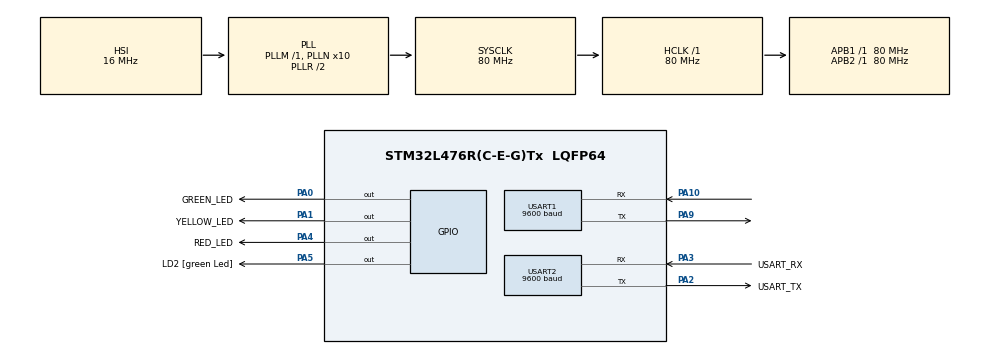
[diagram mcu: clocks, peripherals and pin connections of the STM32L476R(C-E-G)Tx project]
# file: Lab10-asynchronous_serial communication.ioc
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Mcu.Family=STM32L4
Mcu.Name=STM32L476R(C-E-G)Tx
Mcu.Package=LQFP64
NVIC.PriorityGroup=NVIC_PRIORITYGROUP_4
NVIC.USART1_IRQn=true\:0\:0\:false\:false\:true\:true\:true\:true
NVIC.USART2_IRQn=true\:0\:0\:false\:false\:true\:true\:true\:true
PA0.GPIO_Label=GREEN_LED
PA0.Signal=GPIO_Output
PA1.GPIO_Label=YELLOW_LED
PA1.Signal=GPIO_Output
PA10.Mode=Asynchronous
PA10.Signal=USART1_RX
PA13\ (JTMS-SWDIO).GPIO_Label=TMS
PA13\ (JTMS-SWDIO).Mode=Serial_Wire
PA13\ (JTMS-SWDIO).Signal=SYS_JTMS-SWDIO
PA14\ (JTCK-SWCLK).GPIO_Label=TCK
PA14\ (JTCK-SWCLK).Mode=Serial_Wire
PA14\ (JTCK-SWCLK).Signal=SYS_JTCK-SWCLK
PA2.GPIO_Label=USART_TX
PA2.GPIO_Mode=GPIO_MODE_AF_PP
PA2.GPIO_PuPd=GPIO_NOPULL
PA2.GPIO_Speed=GPIO_SPEED_FREQ_VERY_HIGH
PA2.Mode=Asynchronous
PA2.Signal=USART2_TX
PA3.GPIO_Label=USART_RX
PA3.GPIO_Mode=GPIO_MODE_AF_PP
PA3.GPIO_PuPd=GPIO_NOPULL
PA3.GPIO_Speed=GPIO_SPEED_FREQ_VERY_HIGH
PA3.Mode=Asynchronous
PA3.Signal=USART2_RX
PA4.GPIO_Label=RED_LED
PA4.Signal=GPIO_Output
PA5.GPIO_Label=LD2 [green Led]
PA5.GPIO_ModeDefaultOutputPP=GPIO_MODE_OUTPUT_PP
PA5.GPIO_PuPd=GPIO_NOPULL
PA5.GPIO_Speed=GPIO_SPEED_FREQ_LOW
PA5.Signal=GPIO_Output
PA9.Mode=Asynchronous
PA9.Signal=USART1_TX
PB3\ (JTDO-TRACESWO).GPIO_Label=SWO
PB3\ (JTDO-TRACESWO).Signal=SYS_JTDO-SWO
PC14-OSC32_IN\ (PC14).Mode=LSE-External-Oscillator
PC14-OSC32_IN\ (PC14).Signal=RCC_OSC32_IN
PC15-OSC32_OUT\ (PC15).Mode=LSE-External-Oscillator
PC15-OSC32_OUT\ (PC15).Signal=RCC_OSC32_OUT
PH0-OSC_IN\ (PH0).Signal=RCC_OSC_IN
PH1-OSC_OUT\ (PH1).Signal=RCC_OSC_OUT
ProjectManager.HeapSize=0x200
ProjectManager.StackSize=0x400
ProjectManager.TargetToolchain=STM32CubeIDE
RCC.ADCFreq_Value=64000000
RCC.AHBFreq_Value=80000000
RCC.APB1Freq_Value=80000000
RCC.APB1TimFreq_Value=80000000
RCC.APB2Freq_Value=80000000
RCC.APB2TimFreq_Value=80000000
RCC.CortexFreq_Value=80000000
RCC.HCLKFreq_Value=80000000
RCC.HSE_VALUE=8000000
RCC.HSI_VALUE=16000000
RCC.MSI_VALUE=4000000
RCC.PLLN=10
RCC.PLLSourceVirtual=RCC_PLLSOURCE_HSI
RCC.PREFETCH_ENABLE=1
RCC.SYSCLKFreq_VALUE=80000000
RCC.SYSCLKSource=RCC_SYSCLKSOURCE_PLLCLK
RCC.USBFreq_Value=64000000
RCC.VCOOutputFreq_Value=160000000
USART1.BaudRate=9600
USART1.VirtualMode-Asynchronous=VM_ASYNC
USART2.BaudRate=9600
USART2.VirtualMode-Asynchronous=VM_ASYNC
board=NUCLEO-L476RG

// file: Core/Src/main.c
/* USER CODE BEGIN Header */
/**
  ******************************************************************************
  * @file           : main.c
  * @brief          : Main program body
  ******************************************************************************
  * @attention
  *
  * Copyright (c) 2025 STMicroelectronics.
  * All rights reserved.
  *
  * This software is licensed under terms that can be found in the LICENSE file
  * in the root directory of this software component.
  * If no LICENSE file comes with this software, it is provided AS-IS.
  *
  ******************************************************************************
  */
/* USER CODE END Header */
#include "main.h"

/* USER CODE BEGIN Includes */
#include "string.h" // library for C strings
#include <stdbool.h> // library for bool data type
/* USER CODE END Includes */

/* USER CODE BEGIN PM */
#define UART_DELAY 100 // wait max of 100 ms between frames in message
#define MAX_MESSAGE_SIZE 100 // 100 characters maximum message size
/* USER CODE END PM */

UART_HandleTypeDef huart1;
UART_HandleTypeDef huart2;

/* USER CODE BEGIN PV */
uint8_t message[MAX_MESSAGE_SIZE] = {0}; // char array to store message received
uint8_t response[MAX_MESSAGE_SIZE] = {0}; // char array to store response message
uint8_t uart1_byte; // byte received from UART1
uint8_t uart2_byte; // byte received from UART2
uint8_t buffer_position = 0; // how many bytes received so far
bool blink = false; // LED blink status
bool party_time = false; // stoplight blink status
/* USER CODE END PV */

void SystemClock_Config(void);
static void MX_GPIO_Init(void);
static void MX_USART2_UART_Init(void);
static void MX_USART1_UART_Init(void);

int main(void)
{

  /* MCU Configuration--------------------------------------------------------*/

  /* Reset of all peripherals, Initializes the Flash interface and the Systick. */
  HAL_Init();

  /* Configure the system clock */
  SystemClock_Config();

  /* Initialize all configured peripherals */
  MX_GPIO_Init();
  MX_USART2_UART_Init();
  MX_USART1_UART_Init();
  /* USER CODE BEGIN 2 */
  // Start UART1 and UART2 to receive interrupts
  HAL_UART_Receive_IT(&huart1, &uart1_byte, 1); // put byte from UART1 in "uart1_byte"
  HAL_UART_Receive_IT(&huart2, &uart2_byte, 1); // put byte from UART2 in "uart2_byte"
  /* USER CODE END 2 */

  /* Infinite loop */
  /* USER CODE BEGIN WHILE */
  while (1)
  {
	  if (party_time) {
		  HAL_GPIO_TogglePin(GREEN_LED_GPIO_Port, GREEN_LED_Pin); // Toggle green led
		  HAL_Delay(100); // wait 100 ms
		  HAL_GPIO_TogglePin(YELLOW_LED_GPIO_Port, YELLOW_LED_Pin); // Toggle yellow led
		  HAL_Delay(100); // wait 100 ms
		  HAL_GPIO_TogglePin(RED_LED_GPIO_Port, RED_LED_Pin); // Toggle red led
		  HAL_Delay(100); // wait 100 ms
	  }
    /* USER CODE END WHILE */

  }
}

void SystemClock_Config(void)
{
  RCC_OscInitTypeDef RCC_OscInitStruct = {0};
  RCC_ClkInitTypeDef RCC_ClkInitStruct = {0};

  /** Configure the main internal regulator output voltage
  */
  if (HAL_PWREx_ControlVoltageScaling(PWR_REGULATOR_VOLTAGE_SCALE1) != HAL_OK)
  {
    Error_Handler();
  }

  /** Initializes the RCC Oscillators according to the specified parameters
  * in the RCC_OscInitTypeDef structure.
  */
  RCC_OscInitStruct.OscillatorType = RCC_OSCILLATORTYPE_HSI;
  RCC_OscInitStruct.HSIState = RCC_HSI_ON;
  RCC_OscInitStruct.HSICalibrationValue = RCC_HSICALIBRATION_DEFAULT;
  RCC_OscInitStruct.PLL.PLLState = RCC_PLL_ON;
  RCC_OscInitStruct.PLL.PLLSource = RCC_PLLSOURCE_HSI;
  RCC_OscInitStruct.PLL.PLLM = 1;
  RCC_OscInitStruct.PLL.PLLN = 10;
  RCC_OscInitStruct.PLL.PLLP = RCC_PLLP_DIV7;
  RCC_OscInitStruct.PLL.PLLQ = RCC_PLLQ_DIV2;
  RCC_OscInitStruct.PLL.PLLR = RCC_PLLR_DIV2;
  if (HAL_RCC_OscConfig(&RCC_OscInitStruct) != HAL_OK)
  {
    Error_Handler();
  }

  /** Initializes the CPU, AHB and APB buses clocks
  */
  RCC_ClkInitStruct.ClockType = RCC_CLOCKTYPE_HCLK|RCC_CLOCKTYPE_SYSCLK
                              |RCC_CLOCKTYPE_PCLK1|RCC_CLOCKTYPE_PCLK2;
  RCC_ClkInitStruct.SYSCLKSource = RCC_SYSCLKSOURCE_PLLCLK;
  RCC_ClkInitStruct.AHBCLKDivider = RCC_SYSCLK_DIV1;
  RCC_ClkInitStruct.APB1CLKDivider = RCC_HCLK_DIV1;
  RCC_ClkInitStruct.APB2CLKDivider = RCC_HCLK_DIV1;

  if (HAL_RCC_ClockConfig(&RCC_ClkInitStruct, FLASH_LATENCY_4) != HAL_OK)
  {
    Error_Handler();
  }
}

static void MX_USART1_UART_Init(void)
{

  huart1.Instance = USART1;
  huart1.Init.BaudRate = 9600;
  huart1.Init.WordLength = UART_WORDLENGTH_8B;
  huart1.Init.StopBits = UART_STOPBITS_1;
  huart1.Init.Parity = UART_PARITY_NONE;
  huart1.Init.Mode = UART_MODE_TX_RX;
  huart1.Init.HwFlowCtl = UART_HWCONTROL_NONE;
  huart1.Init.OverSampling = UART_OVERSAMPLING_16;
  huart1.Init.OneBitSampling = UART_ONE_BIT_SAMPLE_DISABLE;
  huart1.AdvancedInit.AdvFeatureInit = UART_ADVFEATURE_NO_INIT;
  if (HAL_UART_Init(&huart1) != HAL_OK)
  {
    Error_Handler();
  }

}

static void MX_USART2_UART_Init(void)
{

  huart2.Instance = USART2;
  huart2.Init.BaudRate = 9600;
  huart2.Init.WordLength = UART_WORDLENGTH_8B;
  huart2.Init.StopBits = UART_STOPBITS_1;
  huart2.Init.Parity = UART_PARITY_NONE;
  huart2.Init.Mode = UART_MODE_TX_RX;
  huart2.Init.HwFlowCtl = UART_HWCONTROL_NONE;
  huart2.Init.OverSampling = UART_OVERSAMPLING_16;
  huart2.Init.OneBitSampling = UART_ONE_BIT_SAMPLE_DISABLE;
  huart2.AdvancedInit.AdvFeatureInit = UART_ADVFEATURE_NO_INIT;
  if (HAL_UART_Init(&huart2) != HAL_OK)
  {
    Error_Handler();
  }

}

static void MX_GPIO_Init(void)
{
  GPIO_InitTypeDef GPIO_InitStruct = {0};

  /* GPIO Ports Clock Enable */
  __HAL_RCC_GPIOC_CLK_ENABLE();
  __HAL_RCC_GPIOH_CLK_ENABLE();
  __HAL_RCC_GPIOA_CLK_ENABLE();
  __HAL_RCC_GPIOB_CLK_ENABLE();

  /*Configure GPIO pin Output Level */
  HAL_GPIO_WritePin(GPIOA, GREEN_LED_Pin|YELLOW_LED_Pin|RED_LED_Pin|LD2_Pin, GPIO_PIN_RESET);

  /*Configure GPIO pins : GREEN_LED_Pin YELLOW_LED_Pin RED_LED_Pin LD2_Pin */
  GPIO_InitStruct.Pin = GREEN_LED_Pin|YELLOW_LED_Pin|RED_LED_Pin|LD2_Pin;
  GPIO_InitStruct.Mode = GPIO_MODE_OUTPUT_PP;
  GPIO_InitStruct.Pull = GPIO_NOPULL;
  GPIO_InitStruct.Speed = GPIO_SPEED_FREQ_LOW;
  HAL_GPIO_Init(GPIOA, &GPIO_InitStruct);

}

/* USER CODE BEGIN 4 */
///////////////////////////////////////////////////////////////////////////////////////
// Function called when I receive a new message
// UART2 is between my latop and my board
// UART1 is between my lab partners board and my board
///////////////////////////////////////////////////////////////////////////////////////
void HAL_UART_RxCpltCallback(UART_HandleTypeDef *huart){

 // Check if byte received was on UART2 (from laptop)
 if (huart == &huart2){
	 // If we get here, we received a byte from UART2 and it was placed in "uart2_byte"
	 // Take byte received from my laptop over UART2 and send to lab partner over UART1
	 HAL_UART_Transmit(&huart1, &uart2_byte, 1, UART_DELAY);
	 // Restart UART2's receive interrupt to wait for next byte from laptop
	 HAL_UART_Receive_IT(&huart2, &uart2_byte, 1); //start next byte receive interrupt
 }

	 // Check if byte received was on UART1 (from lab partner)
	 if (huart == &huart1){

		 // Take byte received from my laptop over UART2 and send to lab partner over UART1
		 HAL_UART_Transmit(&huart2, &uart1_byte, 1, UART_DELAY);
		 // Restart UART2's receive interrupt to wait for next byte from laptop
		 HAL_UART_Receive_IT(&huart1, &uart1_byte, 1); //start next byte receive interrupt

		 // If we get here, we received a byte from UART1 and it was placed in "uart1_byte"
		 party_time = false;

		 // If uart2_byte isn't \r, \n, or \0, it means the message isn't over yet
		 if ((uart1_byte != '\r') && (uart1_byte != '\n') && (uart1_byte != '\0')){

			 // Add uart2_byte to the message
			 message[buffer_position] = uart1_byte;
			 buffer_position++;

		 } else {

			 // If we get here, it means we received \r, \n, or \0 and the message is over

			 // Check message
			 if (strcmp((char*)message, "PARTY_TIME") == 0) {
				 party_time = true; // party time turns on

				 // Prepare response message
				 strncpy((char*)response, "Task complete - PARTY_TIME turned on.\n\r", MAX_MESSAGE_SIZE);

			 } else if (strcmp((char*)message, "GO") == 0) {

				 // If "GO\n" was the message received -> Turn off yellow and red leds, turn on green
				 HAL_GPIO_WritePin(GREEN_LED_GPIO_Port, GREEN_LED_Pin, GPIO_PIN_SET);
				 HAL_GPIO_WritePin(YELLOW_LED_GPIO_Port, YELLOW_LED_Pin, GPIO_PIN_RESET);
				 HAL_GPIO_WritePin(RED_LED_GPIO_Port, RED_LED_Pin, GPIO_PIN_RESET);

				 // Prepare response message
				 strncpy((char*)response, "Task complete - 'GO'.\n\r", MAX_MESSAGE_SIZE);

			 } else if (strcmp((char*)message, "GO_FASTER") == 0) {

				 // If "GO_FASTER\n" was the message received -> Turn off green and red leds, turn on yellow
				 HAL_GPIO_WritePin(GREEN_LED_GPIO_Port, GREEN_LED_Pin, GPIO_PIN_RESET);
				 HAL_GPIO_WritePin(YELLOW_LED_GPIO_Port, YELLOW_LED_Pin, GPIO_PIN_SET);
				 HAL_GPIO_WritePin(RED_LED_GPIO_Port, RED_LED_Pin, GPIO_PIN_RESET);

				 // Prepare response message
				 strncpy((char*)response, "Task complete - 'GO_FASTER'\n\r", MAX_MESSAGE_SIZE);

			 } else if (strcmp((char*)message, "STOP") == 0) {

				 // If "STOP\n" was the message received -> Turn off green and yellow leds, turn on red
				 HAL_GPIO_WritePin(GREEN_LED_GPIO_Port, GREEN_LED_Pin, GPIO_PIN_RESET);
				 HAL_GPIO_WritePin(YELLOW_LED_GPIO_Port, YELLOW_LED_Pin, GPIO_PIN_RESET);
				 HAL_GPIO_WritePin(RED_LED_GPIO_Port, RED_LED_Pin, GPIO_PIN_SET);

				 // Prepare response message
				 strncpy((char*)response, "Task complete - 'STOP'\n\r", MAX_MESSAGE_SIZE);
			 }

			 // Send the response message to laptop
			 HAL_UART_Transmit(&huart2, response, strlen(response), UART_DELAY);

			 // Zero out message array and response array to get ready for the next message
			 memset(message,  0, sizeof(message));
			 memset(response, 0, sizeof(response));
			 buffer_position = 0;

		 } // end of full message received else

		 // Restart UART2's receive interrupt to wait for next byte
		 HAL_UART_Receive_IT(&huart1, &uart1_byte, 1); //start next byte receive interrupt

	 } // end of if byte received was on UART1 (from lab partner)
}
/* USER CODE END 4 */

void Error_Handler(void)
{
  __disable_irq();
  while (1)
  {
  }
}
